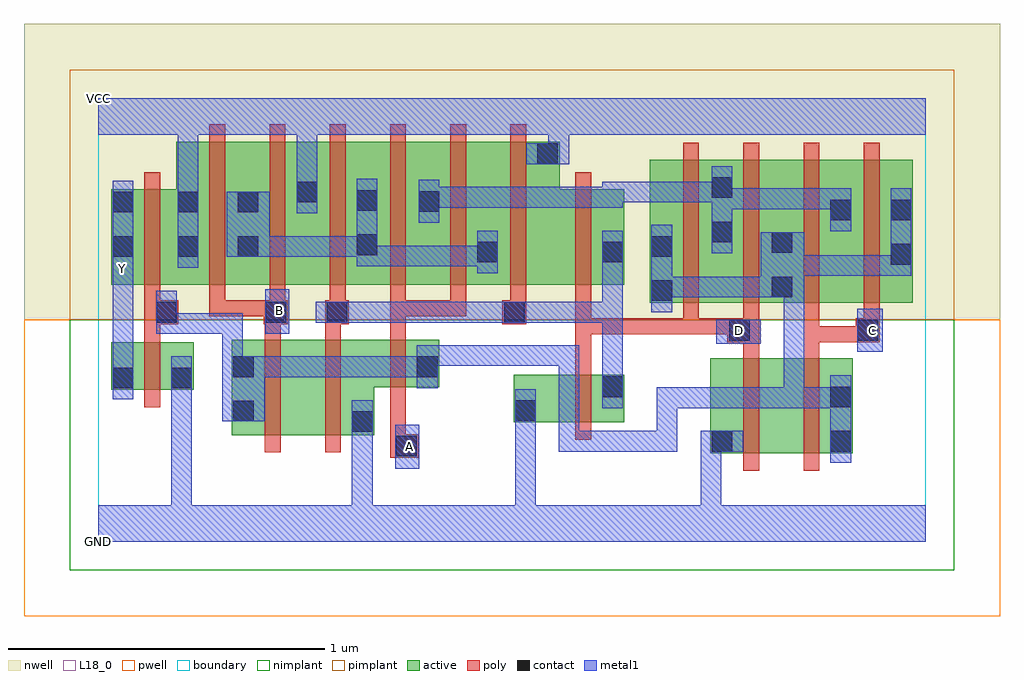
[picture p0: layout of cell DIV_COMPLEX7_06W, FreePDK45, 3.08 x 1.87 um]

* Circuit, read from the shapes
.subckt DIV_COMPLEX7_06W A B C D GND VCC Y
M1 GND n1 Y VSUBS nfet w=0.15u l=0.05u
M2 n2 B n1 VSUBS nfet w=0.3u l=0.05u
M3 GND n3 n2 VSUBS nfet w=0.3u l=0.05u
M4 n1 A GND VSUBS nfet w=0.15u l=0.05u
M5 n3 D GND VSUBS nfet w=0.15u l=0.05u
M6 n4 D GND VSUBS nfet w=0.3u l=0.05u
M7 n1 C n4 VSUBS nfet w=0.3u l=0.05u
M8 VCC n1 Y n5 pfet w=0.3u l=0.05u
M9 n6 B VCC n5 pfet w=0.45u l=0.05u m=2
M10 n6 n3 VCC n5 pfet w=0.45u l=0.05u m=2
M11 n7 A n6 n5 pfet w=0.45u l=0.05u m=2
M12 n3 D VCC n5 pfet w=0.3u l=0.05u
M13 n7 D n1 n5 pfet w=0.45u l=0.05u m=2
M14 n7 C n1 n5 pfet w=0.45u l=0.05u m=2
.ends

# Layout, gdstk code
import gdstk
lib = gdstk.Library(unit=1e-6, precision=1e-09)
def R(c, l, rs):  # rectangles x0, y0, x1, y1
    for r in rs: c.add(gdstk.rectangle(r[:2], r[2:], *l))
def A(c, l, x, y, w, h, nx, ny, dx, dy):  # array of equal rectangles
    R(c, l, [(x+i*dx, y+j*dy, x+i*dx+w, y+j*dy+h) for i in range(nx) for j in range(ny)])
active = (1, 0)
pwell = (2, 0)
nwell = (3, 0)
nimplant = (4, 0)
pimplant = (5, 0)
poly = (9, 0)
contact = (10, 0)
metal1 = (11, 0)
L18_0 = (18, 0)
boundary = (235, 0)

div_complex7_06w = lib.new_cell('DIV_COMPLEX7_06W')
R(div_complex7_06w, active, [(1.93,0.28,2.005,0.58), (1.93,0.28,2.155,0.58), (2.155,0.28,2.38,0.58), (2.305,0.28,2.38,0.58), (0.42,0.337,0.645,0.637), (0.645,0.337,0.87,0.637), (0.795,0.342,0.87,0.547), (0.42,0.345,0.495,0.637), (1.31,0.377,1.385,0.527), (1.31,0.377,1.66,0.527), (1.585,0.377,1.66,0.527), (0.04,0.48,0.115,0.63), (0.04,0.48,0.3,0.63), (0.225,0.48,0.3,0.63), (0.795,0.487,1.075,0.637), (1,0.495,1.075,0.637), (1.74,0.755,2.005,1.205), (1.74,0.755,1.815,1.07), (1.93,0.755,2.005,1.2), (1.93,0.755,2.195,1.205), (2.12,0.755,2.38,1.205), (2.12,0.755,2.195,1.07), (2.305,0.755,2.38,1.2), (2.305,0.755,2.57,1.205), (2.495,0.755,2.57,1.2), (0.04,0.812,0.115,1.112), (0.04,0.812,0.32,1.112), (0.245,0.812,0.51,1.262), (0.245,0.812,0.32,1.262), (0.435,0.812,0.695,1.262), (0.435,0.812,0.51,1.2), (0.62,0.812,0.885,1.262), (0.62,0.812,0.695,1.262), (0.81,0.812,0.885,1.2), (0.81,0.812,1.08,1.262), (1.005,0.812,1.265,1.262), (1.005,0.812,1.08,1.2), (1.19,0.812,1.455,1.262), (1.19,0.812,1.265,1.07), (1.38,0.812,1.66,1.112), (1.585,0.877,1.66,1.055), (1.38,0.96,1.455,1.262)])
R(div_complex7_06w, pwell, [(-0.235,-0.235,2.845,0.7)])
R(div_complex7_06w, nwell, [(-0.235,0.7,2.845,1.635)])
R(div_complex7_06w, nimplant, [(-0.09,-0.09,2.7,0.7)])
R(div_complex7_06w, pimplant, [(-0.09,0.7,2.7,1.49)])
A(div_complex7_06w, poly, 1.845, 0.7, 0.05, 0.56, 4, 1, 0.19, 0)
A(div_complex7_06w, poly, 0.35, 0.712, 0.05, 0.095, 6, 1, 0.19, 0)
A(div_complex7_06w, poly, 0.35, 0.757, 0.05, 0.56, 6, 1, 0.19, 0)
R(div_complex7_06w, poly, [(2.035,0.225,2.085,0.635), (2.225,0.225,2.275,0.635), (0.92,0.265,1.01,0.34), (0.525,0.282,0.575,0.692), (0.715,0.282,0.765,0.692), (0.92,0.29,0.97,0.482), (1.505,0.322,1.555,0.582), (0.145,0.425,0.195,0.685), (0.92,0.432,0.97,0.692), (1.505,0.532,1.555,0.705), (2.035,0.585,2.085,0.68), (2.225,0.585,2.275,0.68), (1.985,0.63,2.085,0.705), (2.225,0.63,2.275,0.68), (2.225,0.63,2.44,0.68), (2.225,0.63,2.275,0.75), (2.39,0.63,2.44,0.68), (2.39,0.63,2.44,0.68), (2.39,0.63,2.465,0.705), (0.145,0.635,0.195,0.737), (0.525,0.642,0.575,0.737), (0.715,0.642,0.765,0.737), (0.92,0.642,0.97,0.762), (1.505,0.655,1.555,0.705), (1.505,0.655,1.555,0.705), (1.505,0.655,1.555,0.705), (1.505,0.655,1.895,0.705), (1.505,0.655,1.555,0.807), (1.845,0.655,1.895,0.75), (1.845,0.655,1.895,0.705), (1.845,0.655,1.895,0.705), (1.845,0.655,1.895,0.705), (1.845,0.655,2.035,0.705), (1.985,0.655,2.035,0.705), (1.985,0.655,2.035,0.705), (2.035,0.655,2.085,0.75), (2.415,0.655,2.465,0.75), (0.145,0.687,0.252,0.762), (0.522,0.687,0.597,0.762), (0.715,0.687,0.79,0.762), (1.275,0.687,1.35,0.762), (0.145,0.712,0.195,0.807), (0.35,0.712,0.4,0.762), (0.35,0.712,0.4,0.762), (0.35,0.712,0.4,0.762), (0.35,0.712,0.572,0.762), (0.92,0.712,0.97,0.762), (0.92,0.712,1.16,0.762), (1.11,0.712,1.16,0.762), (1.11,0.712,1.16,0.762), (1.11,0.712,1.16,0.762), (0.145,0.757,0.195,1.167), (1.505,0.757,1.555,1.167)])
R(div_complex7_06w, contact, [(0.94,0.27,1.005,0.335), (1.935,0.285,2,0.35), (2.31,0.285,2.375,0.35), (0.8,0.347,0.865,0.412), (0.425,0.38,0.49,0.445), (1.315,0.382,1.38,0.447), (2.31,0.425,2.375,0.49), (1.59,0.457,1.655,0.522), (0.045,0.485,0.11,0.55), (0.23,0.485,0.295,0.55), (0.425,0.52,0.49,0.585), (1.005,0.52,1.07,0.585), (1.99,0.635,2.055,0.7), (2.395,0.635,2.46,0.7), (0.182,0.692,0.247,0.757), (0.527,0.692,0.592,0.757), (0.72,0.692,0.785,0.757), (1.28,0.692,1.345,0.757), (1.745,0.76,1.81,0.825), (2.125,0.772,2.19,0.837), (2.5,0.875,2.565,0.94), (1.195,0.882,1.26,0.947), (1.59,0.882,1.655,0.947), (0.045,0.9,0.11,0.965), (0.25,0.9,0.315,0.965), (0.44,0.9,0.505,0.965), (1.745,0.9,1.81,0.965), (0.815,0.905,0.88,0.97), (2.125,0.912,2.19,0.977), (1.935,0.945,2,1.01), (2.31,1.015,2.375,1.08), (2.5,1.015,2.565,1.08), (0.045,1.04,0.11,1.105), (0.25,1.04,0.315,1.105), (0.44,1.04,0.505,1.105), (1.01,1.042,1.075,1.107), (0.815,1.045,0.88,1.11), (0.625,1.072,0.69,1.137), (1.935,1.085,2,1.15), (1.385,1.192,1.45,1.257)])
R(div_complex7_06w, metal1, [(0,0,2.61,0.115), (0.23,0.05,0.295,0.115), (0.23,0.05,0.295,0.115), (0.23,0.05,0.295,0.115), (0.23,0.05,0.295,0.115), (0.23,0.05,0.295,0.115), (0.23,0.05,0.295,0.115), (0.23,0.05,0.295,0.515), (0.8,0.05,0.865,0.115), (0.8,0.05,0.865,0.115), (0.8,0.05,0.865,0.115), (0.8,0.05,0.865,0.115), (0.8,0.05,0.865,0.377), (1.315,0.05,1.38,0.115), (1.315,0.05,1.38,0.115), (1.315,0.05,1.38,0.115), (1.315,0.05,1.38,0.115), (1.315,0.05,1.38,0.115), (1.315,0.05,1.38,0.115), (1.315,0.05,1.38,0.412), (1.9,0.05,1.965,0.115), (1.9,0.05,1.965,0.115), (1.9,0.05,1.965,0.115), (1.9,0.05,1.965,0.115), (1.9,0.05,1.965,0.35), (0.937,0.23,1.012,0.37), (2.31,0.25,2.375,0.525), (1.452,0.285,1.517,0.35), (1.452,0.285,1.655,0.35), (1.452,0.285,1.517,0.62), (1.59,0.285,1.655,0.35), (1.59,0.285,1.827,0.35), (1.762,0.285,1.827,0.35), (1.762,0.285,1.827,0.487), (1.9,0.285,2.035,0.35), (0.8,0.312,0.865,0.447), (1.315,0.347,1.38,0.482), (0.39,0.38,0.525,0.585), (1.59,0.422,1.655,0.557), (1.762,0.422,1.827,0.487), (1.762,0.422,1.827,0.487), (1.762,0.422,1.827,0.487), (1.762,0.422,2.017,0.487), (1.952,0.422,2.017,0.487), (1.952,0.422,2.017,0.487), (1.952,0.422,2.017,0.487), (1.952,0.422,2.227,0.487), (2.162,0.422,2.227,0.487), (2.162,0.422,2.227,0.487), (2.162,0.422,2.227,0.487), (2.162,0.422,2.375,0.487), (2.162,0.422,2.227,0.837), (0.045,0.45,0.11,0.585), (0.23,0.45,0.295,0.585), (1.005,0.485,1.07,0.62), (1.59,0.492,1.655,0.757), (0.045,0.52,0.11,0.86), (0.39,0.52,0.455,0.722), (0.46,0.52,0.525,0.585), (0.46,0.52,0.525,0.585), (0.46,0.52,0.682,0.585), (0.617,0.52,0.682,0.585), (0.617,0.52,0.727,0.585), (0.662,0.52,0.727,0.585), (0.662,0.52,0.82,0.585), (0.755,0.52,0.82,0.585), (0.755,0.52,0.957,0.585), (0.892,0.52,0.957,0.585), (0.892,0.52,1.07,0.585), (1.005,0.555,1.095,0.62), (1.03,0.555,1.095,0.62), (1.03,0.555,1.242,0.62), (1.177,0.555,1.242,0.62), (1.177,0.555,1.242,0.62), (1.177,0.555,1.242,0.62), (1.177,0.555,1.517,0.62), (1.452,0.555,1.517,0.62), (1.452,0.555,1.517,0.62), (1.452,0.555,1.517,0.62), (2.395,0.6,2.475,0.735), (1.95,0.625,2.09,0.7), (0.182,0.657,0.247,0.722), (0.182,0.657,0.247,0.722), (0.182,0.657,0.247,0.792), (0.182,0.657,0.387,0.722), (0.322,0.657,0.387,0.722), (0.322,0.657,0.455,0.722), (0.39,0.657,0.455,0.722), (0.527,0.657,0.602,0.797), (0.685,0.692,0.82,0.757), (0.755,0.692,0.82,0.757), (0.755,0.692,0.82,0.757), (0.755,0.692,0.957,0.757), (0.892,0.692,0.957,0.757), (0.892,0.692,1.017,0.757), (0.952,0.692,1.017,0.757), (0.952,0.692,1.095,0.757), (1.03,0.692,1.095,0.757), (1.03,0.692,1.242,0.757), (1.177,0.692,1.242,0.757), (1.177,0.692,1.31,0.757), (1.245,0.692,1.38,0.757), (1.315,0.692,1.38,0.757), (1.315,0.692,1.38,0.757), (1.315,0.692,1.655,0.757), (1.59,0.692,1.655,0.757), (1.59,0.692,1.655,0.757), (1.59,0.692,1.655,0.757), (1.59,0.692,1.655,0.912), (1.745,0.725,1.81,1), (1.745,0.772,1.81,0.837), (1.745,0.772,1.81,0.837), (1.745,0.772,2.017,0.837), (1.952,0.772,2.017,0.837), (1.952,0.772,2.017,0.837), (1.952,0.772,2.017,0.837), (1.952,0.772,2.155,0.837), (2.09,0.772,2.227,0.977), (2.162,0.772,2.227,0.837), (2.162,0.772,2.227,0.837), (0.045,0.795,0.11,0.93), (2.162,0.84,2.227,0.905), (2.162,0.84,2.227,0.905), (2.162,0.84,2.427,0.905), (2.362,0.84,2.427,0.905), (2.362,0.84,2.565,0.905), (2.5,0.84,2.565,0.905), (2.5,0.84,2.565,0.905), (2.5,0.84,2.565,1.115), (1.195,0.847,1.26,0.982), (1.59,0.847,1.655,0.982), (0.045,0.865,0.11,0.93), (0.045,0.865,0.11,1.14), (0.25,0.865,0.315,1.14), (0.815,0.87,0.88,1.145), (0.815,0.87,0.957,0.935), (0.892,0.87,0.957,0.935), (0.892,0.87,1.095,0.935), (1.03,0.87,1.095,0.935), (1.03,0.87,1.095,0.935), (1.03,0.87,1.095,0.935), (1.03,0.87,1.26,0.935), (0.405,0.9,0.54,1.105), (0.475,0.9,0.54,0.965), (0.475,0.9,0.54,0.965), (0.475,0.9,0.682,0.965), (0.617,0.9,0.682,0.965), (0.617,0.9,0.682,0.965), (0.617,0.9,0.682,0.965), (0.617,0.9,0.88,0.965), (1.935,0.91,2,1.185), (2.31,0.98,2.375,1.115), (1.01,1.007,1.075,1.142), (0.625,1.037,0.69,1.172), (1.935,1.05,2,1.115), (1.935,1.05,2,1.115), (1.935,1.05,2.237,1.115), (2.172,1.05,2.237,1.115), (2.172,1.05,2.237,1.115), (2.172,1.05,2.237,1.115), (2.172,1.05,2.375,1.115), (1.01,1.055,1.105,1.12), (1.04,1.055,1.105,1.12), (1.04,1.055,1.242,1.12), (1.177,1.055,1.242,1.12), (1.177,1.055,1.38,1.12), (1.315,1.055,1.38,1.12), (1.315,1.055,1.38,1.12), (1.315,1.055,1.38,1.12), (1.315,1.055,1.517,1.12), (1.452,1.055,1.517,1.12), (1.452,1.055,1.655,1.12), (1.59,1.055,1.655,1.137), (1.59,1.072,1.827,1.137), (1.762,1.072,1.827,1.137), (1.762,1.072,1.827,1.137), (1.762,1.072,1.827,1.137), (1.762,1.072,2,1.137), (0.25,1.075,0.315,1.35), (0.625,1.107,0.69,1.35), (1.35,1.192,1.485,1.257), (1.42,1.192,1.485,1.35), (0,1.285,2.61,1.4)])
R(div_complex7_06w, L18_0, [(0,0,2.61,0.115), (0.23,0.05,0.295,0.115), (0.23,0.05,0.295,0.115), (0.23,0.05,0.295,0.115), (0.23,0.05,0.295,0.115), (0.23,0.05,0.295,0.115), (0.23,0.05,0.295,0.115), (0.23,0.05,0.295,0.515), (0.8,0.05,0.865,0.115), (0.8,0.05,0.865,0.115), (0.8,0.05,0.865,0.115), (0.8,0.05,0.865,0.115), (0.8,0.05,0.865,0.377), (1.315,0.05,1.38,0.115), (1.315,0.05,1.38,0.115), (1.315,0.05,1.38,0.115), (1.315,0.05,1.38,0.115), (1.315,0.05,1.38,0.115), (1.315,0.05,1.38,0.115), (1.315,0.05,1.38,0.412), (1.9,0.05,1.965,0.115), (1.9,0.05,1.965,0.115), (1.9,0.05,1.965,0.115), (1.9,0.05,1.965,0.115), (1.9,0.05,1.965,0.35), (0.937,0.23,1.012,0.37), (0.947,0.27,1.012,0.335), (1.9,0.285,2.035,0.35), (0.8,0.312,0.865,0.447), (1.315,0.347,1.38,0.482), (0.045,0.45,0.11,0.585), (0.23,0.45,0.295,0.585), (0.045,0.52,0.11,0.86), (2.395,0.6,2.475,0.735), (1.95,0.625,2.09,0.7), (1.99,0.635,2.055,0.7), (2.41,0.635,2.475,0.7), (0.527,0.657,0.602,0.797), (0.537,0.697,0.602,0.762), (0.045,0.795,0.11,0.93), (0.045,0.83,0.11,0.895), (0.045,0.865,0.11,1.14), (0.045,0.865,0.11,0.93), (0.25,0.865,0.315,1.14), (0.625,1.037,0.69,1.172), (0.25,1.075,0.315,1.35), (0.625,1.107,0.69,1.35), (1.35,1.192,1.485,1.257), (1.42,1.192,1.485,1.35), (0,1.285,2.61,1.4)])
R(div_complex7_06w, boundary, [(0,0,2.61,1.4)])
div_complex7_06w.add(gdstk.Label('A', (0.98,0.302), layer=11, texttype=0))
div_complex7_06w.add(gdstk.Label('B', (0.57,0.73), layer=11, texttype=0))
div_complex7_06w.add(gdstk.Label('C', (2.442,0.667), layer=11, texttype=0))
div_complex7_06w.add(gdstk.Label('D', (2.022,0.667), layer=11, texttype=0))
div_complex7_06w.add(gdstk.Label('Y', (0.077,0.862), layer=11, texttype=0))
div_complex7_06w.add(gdstk.Label('VCC', (0,1.4), layer=11, texttype=0))
div_complex7_06w.add(gdstk.Label('GND', (0,0), layer=11, texttype=0))

lib.write_gds('DIV_COMPLEX7_06W.gds')
